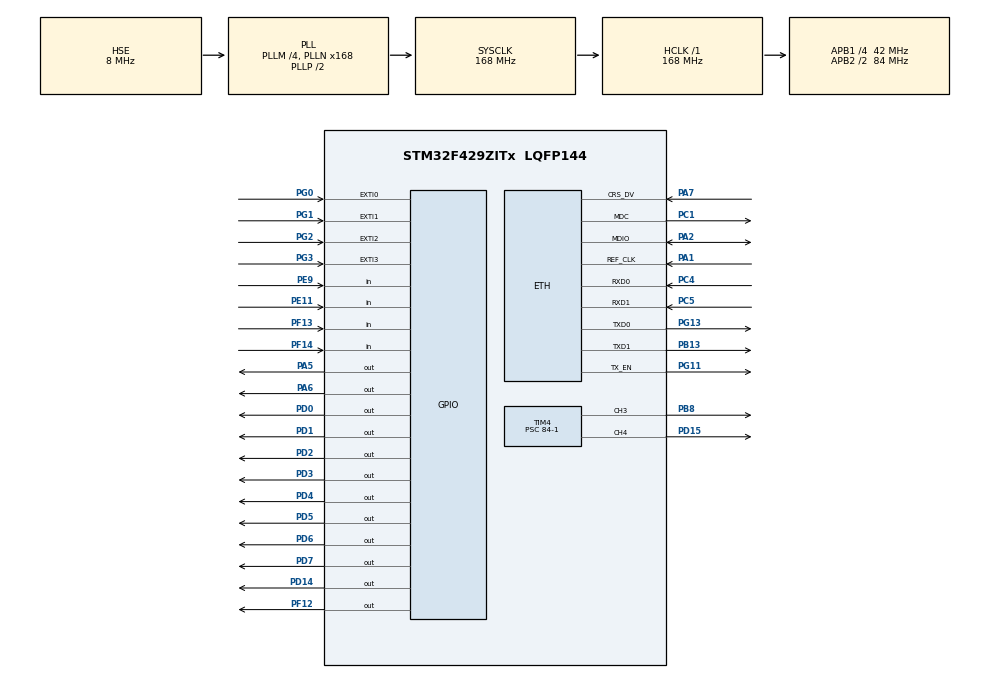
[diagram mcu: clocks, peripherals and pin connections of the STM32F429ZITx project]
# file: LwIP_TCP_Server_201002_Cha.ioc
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ETH.MediaInterface=ETH_MEDIA_INTERFACE_RMII
ETH.PhyAddress=0
LWIP.GATEWAY_ADDRESS=192.168.000.001
LWIP.IP_ADDRESS=192.168.000.012
LWIP.LWIP_DHCP=0
LWIP.NETMASK_ADDRESS=255.255.255.000
LWIP.Version=v2.1.2_Cube
Mcu.Family=STM32F4
Mcu.Name=STM32F429ZITx
Mcu.Package=LQFP144
NVIC.EXTI0_IRQn=true\:0\:0\:false\:false\:true\:true\:true
NVIC.EXTI1_IRQn=true\:0\:0\:false\:false\:true\:true\:true
NVIC.EXTI2_IRQn=true\:0\:0\:false\:false\:true\:true\:true
NVIC.EXTI3_IRQn=true\:0\:0\:false\:false\:true\:true\:true
NVIC.PriorityGroup=NVIC_PRIORITYGROUP_4
PA1.Mode=RMII
PA1.Signal=ETH_REF_CLK
PA13.Mode=Serial_Wire
PA13.Signal=SYS_JTMS-SWDIO
PA14.Mode=Serial_Wire
PA14.Signal=SYS_JTCK-SWCLK
PA2.Mode=RMII
PA2.Signal=ETH_MDIO
PA5.Signal=GPIO_Output
PA6.Signal=GPIO_Output
PA7.Mode=RMII
PA7.Signal=ETH_CRS_DV
PB13.Mode=RMII
PB13.Signal=ETH_TXD1
PB8.Signal=S_TIM4_CH3
PC1.Mode=RMII
PC1.Signal=ETH_MDC
PC4.Mode=RMII
PC4.Signal=ETH_RXD0
PC5.Mode=RMII
PC5.Signal=ETH_RXD1
PD0.GPIO_ModeDefaultOutputPP=GPIO_MODE_OUTPUT_PP
PD0.GPIO_PuPd=GPIO_NOPULL
PD0.GPIO_Speed=GPIO_SPEED_FREQ_HIGH
PD0.PinState=GPIO_PIN_RESET
PD0.Signal=GPIO_Output
PD1.GPIO_ModeDefaultOutputPP=GPIO_MODE_OUTPUT_PP
PD1.GPIO_PuPd=GPIO_NOPULL
PD1.GPIO_Speed=GPIO_SPEED_FREQ_HIGH
PD1.PinState=GPIO_PIN_RESET
PD1.Signal=GPIO_Output
PD14.Signal=GPIO_Output
PD15.Signal=S_TIM4_CH4
PD2.GPIO_ModeDefaultOutputPP=GPIO_MODE_OUTPUT_PP
PD2.GPIO_PuPd=GPIO_NOPULL
PD2.GPIO_Speed=GPIO_SPEED_FREQ_HIGH
PD2.PinState=GPIO_PIN_RESET
PD2.Signal=GPIO_Output
PD3.GPIO_ModeDefaultOutputPP=GPIO_MODE_OUTPUT_PP
PD3.GPIO_PuPd=GPIO_NOPULL
PD3.GPIO_Speed=GPIO_SPEED_FREQ_HIGH
PD3.PinState=GPIO_PIN_RESET
PD3.Signal=GPIO_Output
PD4.GPIO_ModeDefaultOutputPP=GPIO_MODE_OUTPUT_PP
PD4.GPIO_PuPd=GPIO_NOPULL
PD4.GPIO_Speed=GPIO_SPEED_FREQ_HIGH
PD4.PinState=GPIO_PIN_RESET
PD4.Signal=GPIO_Output
PD5.GPIO_ModeDefaultOutputPP=GPIO_MODE_OUTPUT_PP
PD5.GPIO_PuPd=GPIO_NOPULL
PD5.GPIO_Speed=GPIO_SPEED_FREQ_HIGH
PD5.PinState=GPIO_PIN_RESET
PD5.Signal=GPIO_Output
PD6.GPIO_ModeDefaultOutputPP=GPIO_MODE_OUTPUT_PP
PD6.GPIO_PuPd=GPIO_NOPULL
PD6.GPIO_Speed=GPIO_SPEED_FREQ_HIGH
PD6.PinState=GPIO_PIN_RESET
PD6.Signal=GPIO_Output
PD7.GPIO_ModeDefaultOutputPP=GPIO_MODE_OUTPUT_PP
PD7.GPIO_PuPd=GPIO_NOPULL
PD7.GPIO_Speed=GPIO_SPEED_FREQ_HIGH
PD7.PinState=GPIO_PIN_RESET
PD7.Signal=GPIO_Output
PE11.Signal=GPIO_Input
PE9.Signal=GPIO_Input
PF12.Signal=GPIO_Output
PF13.Signal=GPIO_Input
PF14.Signal=GPIO_Input
PG0.GPIO_ModeDefaultEXTI=GPIO_MODE_IT_FALLING
PG0.GPIO_PuPd=GPIO_NOPULL
PG0.Signal=GPXTI0
PG1.GPIO_ModeDefaultEXTI=GPIO_MODE_IT_FALLING
PG1.GPIO_PuPd=GPIO_NOPULL
PG1.Signal=GPXTI1
PG11.Mode=RMII
PG11.Signal=ETH_TX_EN
PG13.Mode=RMII
PG13.Signal=ETH_TXD0
PG2.GPIO_ModeDefaultEXTI=GPIO_MODE_IT_FALLING
PG2.GPIO_PuPd=GPIO_NOPULL
PG2.Signal=GPXTI2
PG3.GPIO_ModeDefaultEXTI=GPIO_MODE_IT_FALLING
PG3.GPIO_PuPd=GPIO_NOPULL
PG3.Signal=GPXTI3
PH0/OSC_IN.Mode=HSE-External-Clock-Source
PH0/OSC_IN.Signal=RCC_OSC_IN
PH1/OSC_OUT.Mode=HSE-External-Clock-Source
PH1/OSC_OUT.Signal=RCC_OSC_OUT
ProjectManager.HeapSize=0x200
ProjectManager.StackSize=0x400
ProjectManager.TargetToolchain=STM32CubeIDE
RCC.48MHZClocksFreq_Value=84000000
RCC.AHBFreq_Value=168000000
RCC.APB1CLKDivider=RCC_HCLK_DIV4
RCC.APB1Freq_Value=42000000
RCC.APB1TimFreq_Value=84000000
RCC.APB2CLKDivider=RCC_HCLK_DIV2
RCC.APB2Freq_Value=84000000
RCC.APB2TimFreq_Value=168000000
RCC.CortexFreq_Value=168000000
RCC.HCLKFreq_Value=168000000
RCC.HSE_VALUE=8000000
RCC.HSI_VALUE=16000000
RCC.LSE_VALUE=32768
RCC.PLLM=4
RCC.PLLN=168
RCC.PLLSourceVirtual=RCC_PLLSOURCE_HSE
RCC.SYSCLKFreq_VALUE=168000000
RCC.SYSCLKSource=RCC_SYSCLKSOURCE_PLLCLK
RCC.VCOOutputFreq_Value=336000000
SH.S_TIM4_CH3.0=TIM4_CH3,PWM Generation3 CH3
SH.S_TIM4_CH4.0=TIM4_CH4,PWM Generation4 CH4
TIM4.Channel-PWM\ Generation3\ CH3=TIM_CHANNEL_3
TIM4.Channel-PWM\ Generation4\ CH4=TIM_CHANNEL_4
TIM4.Period=10000-1
TIM4.Prescaler=84-1
TIM4.Pulse-PWM\ Generation3\ CH3=50000
TIM4.Pulse-PWM\ Generation4\ CH4=50000
VP_LWIP_VS_Enabled.Mode=Enabled
board=custom

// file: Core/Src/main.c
/* USER CODE BEGIN Header */
/**
  ******************************************************************************
  * @file           : main.c
  * @brief          : Main program body
  ******************************************************************************
  * @attention
  *
  * <h2><center>&copy; Copyright (c) 2020 STMicroelectronics.
  * All rights reserved.</center></h2>
  *
  * This software component is licensed by ST under BSD 3-Clause license,
  * the "License"; You may not use this file except in compliance with the
  * License. You may obtain a copy of the License at:
  *                        opensource.org/licenses/BSD-3-Clause
  *
  ******************************************************************************
  */
/* USER CODE END Header */
#include "main.h"
#include "lwip.h"

/* USER CODE BEGIN Includes */
#include "tcp_echoserver.h"

/* USER CODE END Includes */

TIM_HandleTypeDef htim4;

/* USER CODE BEGIN PV */
struct netif gnetif;

/* USER CODE END PV */

void SystemClock_Config(void);
static void MX_GPIO_Init(void);
static void MX_TIM4_Init(void);
/* USER CODE BEGIN PFP */

void LED_OnOff(int, int);
void User_notification(struct netif *netif);
void Left();
void Right();
void Foward();
void SW();
void Bbop();
void Photo_1();
void Photo_2();
void Photo_3();
void Photo_4();
void Mission_1();
void Mission_2();
void Mission_3();
void Motion_1();
void Motion_2();
void Motion_3();
void sw_Left();
void sw_Right();
void sw_Foward();
void sw_Back();
/* USER CODE END PFP */

int main(void)
{

  /* MCU Configuration--------------------------------------------------------*/

  /* Reset of all peripherals, Initializes the Flash interface and the Systick. */
  HAL_Init();

  /* Configure the system clock */
  SystemClock_Config();

  /* Initialize all configured peripherals */
  MX_GPIO_Init();
  MX_LWIP_Init();
  MX_TIM4_Init();
  /* USER CODE BEGIN 2 */

  User_notification(&gnetif);
  tcp_echoserver_init();
  HAL_TIM_PWM_Start(&htim4, TIM_CHANNEL_3);
  HAL_TIM_PWM_Start(&htim4, TIM_CHANNEL_4);
  /* USER CODE END 2 */

  /* Infinite loop */
  /* USER CODE BEGIN WHILE */
  while (1)
  {
	  MX_LWIP_Process();
    /* USER CODE END WHILE */

  }
}

void SystemClock_Config(void)
{
  RCC_OscInitTypeDef RCC_OscInitStruct = {0};
  RCC_ClkInitTypeDef RCC_ClkInitStruct = {0};

  /** Configure the main internal regulator output voltage
  */
  __HAL_RCC_PWR_CLK_ENABLE();
  __HAL_PWR_VOLTAGESCALING_CONFIG(PWR_REGULATOR_VOLTAGE_SCALE1);
  /** Initializes the RCC Oscillators according to the specified parameters
  * in the RCC_OscInitTypeDef structure.
  */
  RCC_OscInitStruct.OscillatorType = RCC_OSCILLATORTYPE_HSE;
  RCC_OscInitStruct.HSEState = RCC_HSE_BYPASS;
  RCC_OscInitStruct.PLL.PLLState = RCC_PLL_ON;
  RCC_OscInitStruct.PLL.PLLSource = RCC_PLLSOURCE_HSE;
  RCC_OscInitStruct.PLL.PLLM = 4;
  RCC_OscInitStruct.PLL.PLLN = 168;
  RCC_OscInitStruct.PLL.PLLP = RCC_PLLP_DIV2;
  RCC_OscInitStruct.PLL.PLLQ = 4;
  if (HAL_RCC_OscConfig(&RCC_OscInitStruct) != HAL_OK)
  {
    Error_Handler();
  }
  /** Initializes the CPU, AHB and APB buses clocks
  */
  RCC_ClkInitStruct.ClockType = RCC_CLOCKTYPE_HCLK|RCC_CLOCKTYPE_SYSCLK
                              |RCC_CLOCKTYPE_PCLK1|RCC_CLOCKTYPE_PCLK2;
  RCC_ClkInitStruct.SYSCLKSource = RCC_SYSCLKSOURCE_PLLCLK;
  RCC_ClkInitStruct.AHBCLKDivider = RCC_SYSCLK_DIV1;
  RCC_ClkInitStruct.APB1CLKDivider = RCC_HCLK_DIV4;
  RCC_ClkInitStruct.APB2CLKDivider = RCC_HCLK_DIV2;

  if (HAL_RCC_ClockConfig(&RCC_ClkInitStruct, FLASH_LATENCY_5) != HAL_OK)
  {
    Error_Handler();
  }
}

static void MX_TIM4_Init(void)
{

  TIM_MasterConfigTypeDef sMasterConfig = {0};
  TIM_OC_InitTypeDef sConfigOC = {0};

  htim4.Instance = TIM4;
  htim4.Init.Prescaler = 84-1;
  htim4.Init.CounterMode = TIM_COUNTERMODE_UP;
  htim4.Init.Period = 10000-1;
  htim4.Init.ClockDivision = TIM_CLOCKDIVISION_DIV1;
  htim4.Init.AutoReloadPreload = TIM_AUTORELOAD_PRELOAD_DISABLE;
  if (HAL_TIM_PWM_Init(&htim4) != HAL_OK)
  {
    Error_Handler();
  }
  sMasterConfig.MasterOutputTrigger = TIM_TRGO_RESET;
  sMasterConfig.MasterSlaveMode = TIM_MASTERSLAVEMODE_DISABLE;
  if (HAL_TIMEx_MasterConfigSynchronization(&htim4, &sMasterConfig) != HAL_OK)
  {
    Error_Handler();
  }
  sConfigOC.OCMode = TIM_OCMODE_PWM1;
  sConfigOC.Pulse = 50000;
  sConfigOC.OCPolarity = TIM_OCPOLARITY_HIGH;
  sConfigOC.OCFastMode = TIM_OCFAST_DISABLE;
  if (HAL_TIM_PWM_ConfigChannel(&htim4, &sConfigOC, TIM_CHANNEL_3) != HAL_OK)
  {
    Error_Handler();
  }
  if (HAL_TIM_PWM_ConfigChannel(&htim4, &sConfigOC, TIM_CHANNEL_4) != HAL_OK)
  {
    Error_Handler();
  }
  HAL_TIM_MspPostInit(&htim4);

}

static void MX_GPIO_Init(void)
{
  GPIO_InitTypeDef GPIO_InitStruct = {0};

  /* GPIO Ports Clock Enable */
  __HAL_RCC_GPIOH_CLK_ENABLE();
  __HAL_RCC_GPIOC_CLK_ENABLE();
  __HAL_RCC_GPIOA_CLK_ENABLE();
  __HAL_RCC_GPIOF_CLK_ENABLE();
  __HAL_RCC_GPIOG_CLK_ENABLE();
  __HAL_RCC_GPIOE_CLK_ENABLE();
  __HAL_RCC_GPIOB_CLK_ENABLE();
  __HAL_RCC_GPIOD_CLK_ENABLE();

  /*Configure GPIO pin Output Level */
  HAL_GPIO_WritePin(GPIOA, GPIO_PIN_5|GPIO_PIN_6, GPIO_PIN_RESET);

  /*Configure GPIO pin Output Level */
  HAL_GPIO_WritePin(GPIOF, GPIO_PIN_12, GPIO_PIN_RESET);

  /*Configure GPIO pin Output Level */
  HAL_GPIO_WritePin(GPIOD, GPIO_PIN_14|GPIO_PIN_0|GPIO_PIN_1|GPIO_PIN_2
                          |GPIO_PIN_3|GPIO_PIN_4|GPIO_PIN_5|GPIO_PIN_6
                          |GPIO_PIN_7, GPIO_PIN_RESET);

  /*Configure GPIO pins : PA5 PA6 */
  GPIO_InitStruct.Pin = GPIO_PIN_5|GPIO_PIN_6;
  GPIO_InitStruct.Mode = GPIO_MODE_OUTPUT_PP;
  GPIO_InitStruct.Pull = GPIO_NOPULL;
  GPIO_InitStruct.Speed = GPIO_SPEED_FREQ_LOW;
  HAL_GPIO_Init(GPIOA, &GPIO_InitStruct);

  /*Configure GPIO pin : PF12 */
  GPIO_InitStruct.Pin = GPIO_PIN_12;
  GPIO_InitStruct.Mode = GPIO_MODE_OUTPUT_PP;
  GPIO_InitStruct.Pull = GPIO_NOPULL;
  GPIO_InitStruct.Speed = GPIO_SPEED_FREQ_LOW;
  HAL_GPIO_Init(GPIOF, &GPIO_InitStruct);

  /*Configure GPIO pins : PF13 PF14 */
  GPIO_InitStruct.Pin = GPIO_PIN_13|GPIO_PIN_14;
  GPIO_InitStruct.Mode = GPIO_MODE_INPUT;
  GPIO_InitStruct.Pull = GPIO_NOPULL;
  HAL_GPIO_Init(GPIOF, &GPIO_InitStruct);

  /*Configure GPIO pins : PG0 PG1 PG2 PG3 */
  GPIO_InitStruct.Pin = GPIO_PIN_0|GPIO_PIN_1|GPIO_PIN_2|GPIO_PIN_3;
  GPIO_InitStruct.Mode = GPIO_MODE_IT_FALLING;
  GPIO_InitStruct.Pull = GPIO_NOPULL;
  HAL_GPIO_Init(GPIOG, &GPIO_InitStruct);

  /*Configure GPIO pins : PE9 PE11 */
  GPIO_InitStruct.Pin = GPIO_PIN_9|GPIO_PIN_11;
  GPIO_InitStruct.Mode = GPIO_MODE_INPUT;
  GPIO_InitStruct.Pull = GPIO_NOPULL;
  HAL_GPIO_Init(GPIOE, &GPIO_InitStruct);

  /*Configure GPIO pin : PD14 */
  GPIO_InitStruct.Pin = GPIO_PIN_14;
  GPIO_InitStruct.Mode = GPIO_MODE_OUTPUT_PP;
  GPIO_InitStruct.Pull = GPIO_NOPULL;
  GPIO_InitStruct.Speed = GPIO_SPEED_FREQ_LOW;
  HAL_GPIO_Init(GPIOD, &GPIO_InitStruct);

  /*Configure GPIO pins : PD0 PD1 PD2 PD3
                           PD4 PD5 PD6 PD7 */
  GPIO_InitStruct.Pin = GPIO_PIN_0|GPIO_PIN_1|GPIO_PIN_2|GPIO_PIN_3
                          |GPIO_PIN_4|GPIO_PIN_5|GPIO_PIN_6|GPIO_PIN_7;
  GPIO_InitStruct.Mode = GPIO_MODE_OUTPUT_PP;
  GPIO_InitStruct.Pull = GPIO_NOPULL;
  GPIO_InitStruct.Speed = GPIO_SPEED_FREQ_HIGH;
  HAL_GPIO_Init(GPIOD, &GPIO_InitStruct);

  /* EXTI interrupt init*/
  HAL_NVIC_SetPriority(EXTI0_IRQn, 0, 0);
  HAL_NVIC_EnableIRQ(EXTI0_IRQn);

  HAL_NVIC_SetPriority(EXTI1_IRQn, 0, 0);
  HAL_NVIC_EnableIRQ(EXTI1_IRQn);

  HAL_NVIC_SetPriority(EXTI2_IRQn, 0, 0);
  HAL_NVIC_EnableIRQ(EXTI2_IRQn);

  HAL_NVIC_SetPriority(EXTI3_IRQn, 0, 0);
  HAL_NVIC_EnableIRQ(EXTI3_IRQn);

}

/* USER CODE BEGIN 4 */
void LED_OnOff(int led, int interval)
{
	HAL_GPIO_WritePin(GPIO_LED, led, GPIO_PIN_SET );
	HAL_Delay(interval);
	HAL_GPIO_WritePin(GPIO_LED, led, GPIO_PIN_RESET );

}

void Right()
{
	HAL_GPIO_WritePin(GPIOA, GPIO_PIN_5, GPIO_PIN_RESET);
	HAL_GPIO_WritePin(GPIOA, GPIO_PIN_6, GPIO_PIN_SET);

	HAL_GPIO_WritePin(GPIOF, GPIO_PIN_12, GPIO_PIN_RESET);
	HAL_GPIO_WritePin(GPIOD, GPIO_PIN_14, GPIO_PIN_SET);
}

void Left()
{
	HAL_GPIO_WritePin(GPIOA, GPIO_PIN_5, GPIO_PIN_SET);
	HAL_GPIO_WritePin(GPIOA, GPIO_PIN_6, GPIO_PIN_RESET);

	HAL_GPIO_WritePin(GPIOF, GPIO_PIN_12, GPIO_PIN_SET);
	HAL_GPIO_WritePin(GPIOD, GPIO_PIN_14, GPIO_PIN_RESET);
}

void Foward()
{
	HAL_GPIO_WritePin(GPIOA, GPIO_PIN_5, GPIO_PIN_SET);
	HAL_GPIO_WritePin(GPIOA, GPIO_PIN_6, GPIO_PIN_RESET);

	HAL_GPIO_WritePin(GPIOF, GPIO_PIN_12, GPIO_PIN_RESET);
	HAL_GPIO_WritePin(GPIOD, GPIO_PIN_14, GPIO_PIN_SET);
}

void Back()
{
	HAL_GPIO_WritePin(GPIOA, GPIO_PIN_5, GPIO_PIN_RESET);
	HAL_GPIO_WritePin(GPIOA, GPIO_PIN_6, GPIO_PIN_SET);

	HAL_GPIO_WritePin(GPIOF, GPIO_PIN_12, GPIO_PIN_SET);
	HAL_GPIO_WritePin(GPIOD, GPIO_PIN_14, GPIO_PIN_RESET);
}

void Stop()
{
	HAL_GPIO_WritePin(GPIOA, GPIO_PIN_5, GPIO_PIN_SET);
	HAL_GPIO_WritePin(GPIOA, GPIO_PIN_6, GPIO_PIN_SET);

	HAL_GPIO_WritePin(GPIOF, GPIO_PIN_12, GPIO_PIN_SET);
	HAL_GPIO_WritePin(GPIOD, GPIO_PIN_14, GPIO_PIN_SET);
}

void Photo_2()
{
	while(1)
	{
		if(HAL_GPIO_ReadPin(GPIOE, GPIO_PIN_11) == GPIO_PIN_SET)
		{
			Stop();
			HAL_Delay(500);
			break;
		}
		else
		{
			Right();
		}
	}
}

void Photo_3()
{
	while(1)
	{
		if(HAL_GPIO_ReadPin(GPIOE, GPIO_PIN_9) == GPIO_PIN_SET)
		{
			Stop();
			HAL_Delay(500);
			break;
		}
		else
		{
			Right();
		}
	}
}

void Photo_4()
{
	while(1)
	{
		if(HAL_GPIO_ReadPin(GPIOF, GPIO_PIN_13) == GPIO_PIN_SET)
		{
			Stop();
			HAL_Delay(500);
			break;
		}
		else
		{
			Right();
		}
	}
}

void Bbop()
{
	Foward();
	HAL_Delay(2000);
	Stop();
	HAL_Delay(500);
	Back();
	HAL_Delay(2000);
	while(1)
	{
		if(HAL_GPIO_ReadPin(GPIOF, GPIO_PIN_14) == GPIO_PIN_SET)
		{
			Stop();
			break;
		}
		else
		{
			Left();
		}
	}
}

void Motion_1()
{
	Photo_2();
	Bbop();
	Stop();
	HAL_Delay(1000);
}

void Motion_2()
{
	Photo_3();
	Bbop();
	Stop();
	HAL_Delay(1000);
}

void Motion_3()
{
	Photo_4();
	Bbop();
	Stop();
	HAL_Delay(1000);
}

void sw_Left()
{
	while(1)
	{
		if(HAL_GPIO_ReadPin(GPIOG, GPIO_PIN_0) == RESET)
		{
			Left();
		}
		else
		{
			Stop();
			break;
		}
	}
}

void sw_Right()
{
	while(1)
	{
		if(HAL_GPIO_ReadPin(GPIOG, GPIO_PIN_1) == RESET)
		{
			Right();
		}
		else
		{
			Stop();
			break;
		}
	}
}

void sw_Foward()
{
	while(1)
	{
		if(HAL_GPIO_ReadPin(GPIOG, GPIO_PIN_2) == RESET)
		{
			Foward();
		}
		else
		{
			Stop();
			break;
		}
	}
}

void sw_Back()
{
	while(1)
	{
		if(HAL_GPIO_ReadPin(GPIOG, GPIO_PIN_3) == RESET)
		{
			Back();
		}
		else
		{
			Stop();
			break;
		}
	}
}
void User_notification(struct netif *netif)
{
	if (netif_is_up(netif))  {
		HAL_GPIO_WritePin(GPIO_LED, LED7, GPIO_PIN_SET);
	}

	else  {
		HAL_GPIO_WritePin(GPIO_LED, LED8, GPIO_PIN_SET);
	}
}

/* USER CODE END 4 */

void Error_Handler(void)
{
}

/************************ (C) COPYRIGHT STMicroelectronics *****END OF FILE****/
